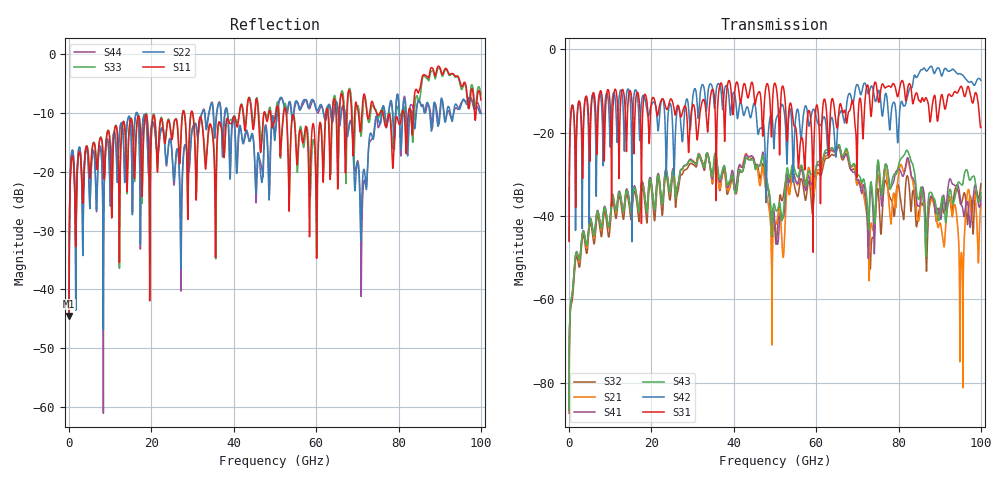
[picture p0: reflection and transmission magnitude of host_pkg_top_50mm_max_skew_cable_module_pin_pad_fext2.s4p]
# Hz S RI R 50
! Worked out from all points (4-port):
!   10000 points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, 10 MHz to 100 GHz, reference 50 ohm
!   strongest paths, dB at 10 MHz, 25.01 GHz, 50.01 GHz, 75.01 GHz, 100 GHz:
!     S31: -46.1, -12.3, -8.2, -11.9, -18.7
!     S42: -45.9, -16.0, -18.9, -10.1, -7.5
!     S43: -86.5, -30.2, -37.9, -26.6, -34.5
!     S41: -86.4, -29.9, -42.1, -27.4, -35.5
!     S21: -86.5, -29.8, -41.9, -30.1, -37.1
!     S32: -87.3, -31.3, -44.2, -33.6, -32.3
!   lowest |S11| = -44.5 dB at 10 MHz (marker M1), VSWR 1.01, Z = 50.3 + j0.526 ohm
!   |S11| at or under -10 dB: start of sweep to 27.58 GHz; 29.98 GHz to 41.37 GHz (11.39 GHz wide, 31.9 % of centre); 52.7 GHz to 62.38 GHz (9.677 GHz wide, 16.8 % of centre)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
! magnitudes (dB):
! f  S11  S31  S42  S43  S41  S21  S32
! 10 MHz  -44.5  -46.1  -45.9  -86.5  -86.4  -86.5  -87.3
! 5.16 GHz  -20.7  -20.9  -17.1  -40.7  -40.5  -40.8  -41.8
! 31.59 GHz  -11.3  -17.0  -13.8  -25.3  -25.2  -25.1  -25.7
! 51.95 GHz  -11.2  -8.9  -13.6  -40.0  -40.4  -49.8  -35.7
! 82.27 GHz  -10.9  -9.1  -10.9  -24.5  -26.1  -26.6  -30.6
! 95.26 GHz  -5.5  -8.9  -6.0  -32.5  -37.3  -48.8  -37.1
! 100 GHz  -7.8  -18.7  -7.5  -34.5  -35.5  -37.1  -32.3
